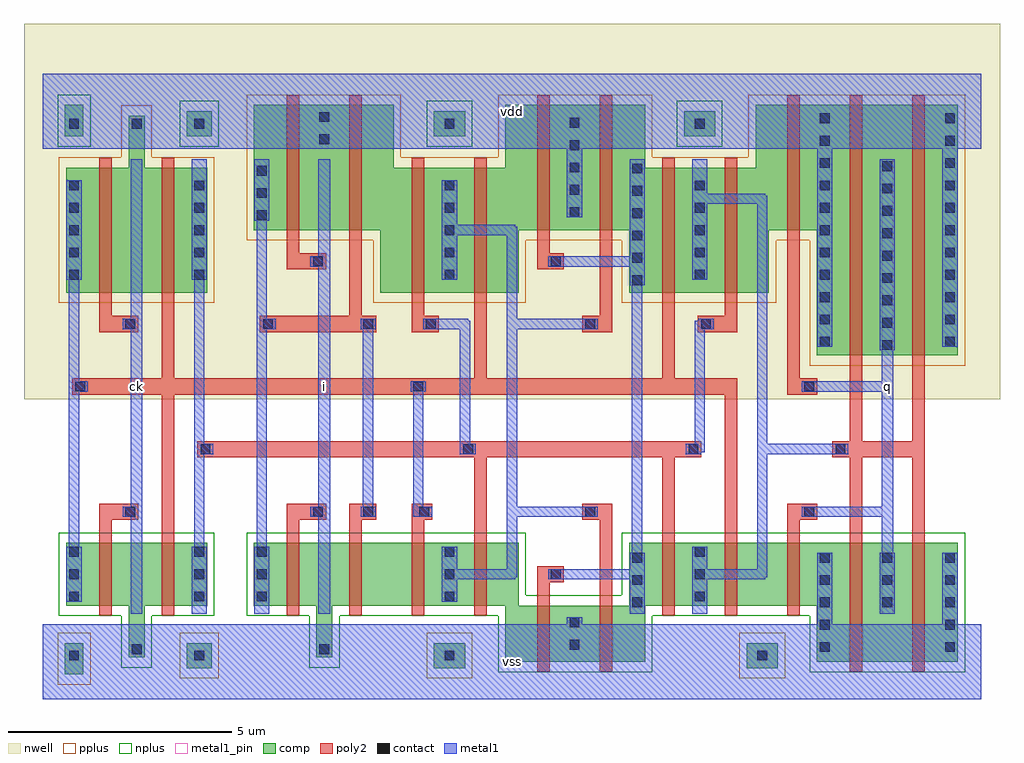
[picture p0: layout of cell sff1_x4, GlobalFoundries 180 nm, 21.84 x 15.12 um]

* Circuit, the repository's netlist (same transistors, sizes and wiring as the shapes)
* sff1_x4
.subckt sff1_x4 vss ck vdd i q
Mn_ck nckr ck vss vss nfet_03v3 l=0.28um w=1.4um
Mp_ck nckr ck vdd vdd pfet_03v3 l=0.28um w=2.8um
Mp_ckr_2 sff_s ckr _net0 vdd pfet_03v3 l=0.28um w=2.8um
Mn_ckr_1 sff_m ckr _net4 vss nfet_03v3 l=0.28um w=1.4um
Mn_ckr_2 y ckr sff_s vss nfet_03v3 l=0.28um w=1.4um
Mp_ckr_1 _net1 ckr sff_m vdd pfet_03v3 l=0.28um w=2.8um
Mp_i u i vdd vdd pfet_03v3 l=0.28um w=2.8um
Mn_i u i vss vss nfet_03v3 l=0.28um w=1.4um
Mn_nckr_1 vss nckr ckr vss nfet_03v3 l=0.28um w=1.4um
Mp_nckr_1 vdd nckr ckr vdd pfet_03v3 l=0.28um w=2.8um
Mp_nckr_2 sff_m nckr _net5 vdd pfet_03v3 l=0.28um w=2.8um
Mp_nckr_3 y nckr sff_s vdd pfet_03v3 l=0.28um w=2.8um
Mn_nckr_2 _net2 nckr sff_m vss nfet_03v3 l=0.28um w=1.4um
Mn_nckr_3 sff_s nckr _net6 vss nfet_03v3 l=0.28um w=1.4um
Mn_q_1 _net6 q vss vss nfet_03v3 l=0.28um w=1.4um
Mp_q_1 _net0 q vdd vdd pfet_03v3 l=0.28um w=2.8um
Mp_sffm_1 vdd sff_m y vdd pfet_03v3 l=0.28um w=2.8um
Mn_sffm_1 vss sff_m y vss nfet_03v3 l=0.28um w=1.26um
Mp_sffs_1 vdd sff_s q vdd pfet_03v3 l=0.28um w=5.6um
Mn_sffs_1 vss sff_s q vss nfet_03v3 l=0.28um w=2.66um
Mp_sffs_2 q sff_s vdd vdd pfet_03v3 l=0.28um w=5.6um
Mn_sffs_2 q sff_s vss vss nfet_03v3 l=0.28um w=2.66um
Mn_u vss u _net2 vss nfet_03v3 l=0.28um w=1.4um
Mp_u vdd u _net1 vdd pfet_03v3 l=0.28um w=2.8um
Mp_y_1 _net5 y vdd vdd pfet_03v3 l=0.28um w=2.8um
Mn_y_1 _net4 y vss vss nfet_03v3 l=0.28um w=1.26um
.ends sff1_x4

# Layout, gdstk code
import gdstk
lib = gdstk.Library(unit=1e-6, precision=1e-09)
def R(c, l, rs):  # rectangles x0, y0, x1, y1
    for r in rs: c.add(gdstk.rectangle(r[:2], r[2:], *l))
def A(c, l, x, y, w, h, nx, ny, dx, dy):  # array of equal rectangles
    R(c, l, [(x+i*dx, y+j*dy, x+i*dx+w, y+j*dy+h) for i in range(nx) for j in range(ny)])
def P(c, l, *ps):  # polygons
    for p in ps: c.add(gdstk.Polygon(p, *l))
nwell = (21, 0)
comp = (22, 0)
poly2 = (30, 0)
pplus = (31, 0)
nplus = (32, 0)
contact = (33, 0)
metal1 = (34, 0)
metal1_pin = (34, 10)

sff1_x4 = lib.new_cell('sff1_x4')
R(sff1_x4, nwell, [(-0.42,6.72,21.42,15.12)])
R(sff1_x4, comp, [(0.49,0.56,0.91,1.26), (3.22,0.7,3.78,1.26), (8.75,0.7,9.45,1.26), (15.75,0.7,16.45,1.26), (0.49,12.6,0.91,13.3), (3.22,12.6,3.78,13.16), (8.75,12.6,9.45,13.16), (14.35,12.6,15.05,13.16)])
P(sff1_x4, comp, [(0.52,9.1),(0.52,11.9),(1.92,11.9),(1.92,13.06),(2.28,13.06),(2.28,11.9),(3.68,11.9),(3.68,9.1)],
  [(1.92,0.94),(1.92,2.1),(0.52,2.1),(0.52,3.5),(3.68,3.5),(3.68,2.1),(2.28,2.1),(2.28,0.94)],
  [(10.35,0.84),(10.35,2.1),(6.48,2.1),(6.48,0.94),(6.12,0.94),(6.12,2.1),(4.72,2.1),(4.72,3.5),(10.65,3.5),(10.65,2.1),(13.12,2.1),(13.12,3.5),(20.48,3.5),(20.48,0.84),(17.32,0.84),(17.32,2.1),(13.48,2.1),(13.48,0.84)],
  [(17.32,7.7),(17.32,10.5),(16.25,10.5),(16.25,9.1),(13.12,9.1),(13.12,10.5),(10.65,10.5),(10.65,9.1),(7.55,9.1),(7.55,10.5),(4.72,10.5),(4.72,13.3),(7.85,13.3),(7.85,11.9),(10.35,11.9),(10.35,13.3),(13.48,13.3),(13.48,11.9),(15.95,11.9),(15.95,13.3),(20.48,13.3),(20.48,7.7)])
P(sff1_x4, poly2, [(8.26,1.88),(8.26,4.38),(8.72,4.38),(8.72,4.02),(8.54,4.02),(8.54,1.88)],
  [(2.66,1.88),(2.66,6.82),(0.66,6.82),(0.66,7.18),(2.66,7.18),(2.66,12.12),(2.94,12.12),(2.94,7.18),(9.66,7.18),(9.66,12.12),(9.94,12.12),(9.94,7.18),(13.86,7.18),(13.86,12.12),(14.14,12.12),(14.14,7.18),(15.54,7.18),(15.54,1.88),(15.26,1.88),(15.26,6.82),(2.94,6.82),(2.94,1.88)],
  [(1.26,1.88),(1.26,4.38),(2.14,4.38),(2.14,4.02),(1.54,4.02),(1.54,1.88)],
  [(1.26,8.22),(1.26,12.12),(1.54,12.12),(1.54,8.58),(2.14,8.58),(2.14,8.22)],
  [(18.06,0.62),(18.06,5.42),(17.67,5.42),(17.67,5.78),(18.06,5.78),(18.06,13.52),(18.34,13.52),(18.34,5.78),(19.46,5.78),(19.46,13.52),(19.74,13.52),(19.74,0.62),(19.46,0.62),(19.46,5.42),(18.34,5.42),(18.34,0.62)],
  [(8.26,8.22),(8.26,12.12),(8.54,12.12),(8.54,8.58),(8.86,8.58),(8.86,8.22)],
  [(9.66,1.88),(9.66,5.42),(3.46,5.42),(3.46,5.78),(14.74,5.78),(14.74,5.42),(14.14,5.42),(14.14,1.88),(13.86,1.88),(13.86,5.42),(9.94,5.42),(9.94,1.88)],
  [(14.66,8.22),(14.66,8.58),(15.26,8.58),(15.26,12.12),(15.54,12.12),(15.54,8.22)],
  [(12.07,8.22),(12.07,8.58),(12.46,8.58),(12.46,13.52),(12.74,13.52),(12.74,8.22)],
  [(12.46,0.62),(12.46,4.02),(12.07,4.02),(12.07,4.38),(12.74,4.38),(12.74,0.62)],
  [(11.06,9.62),(11.06,13.52),(11.34,13.52),(11.34,9.98),(11.66,9.98),(11.66,9.62)],
  [(11.06,0.62),(11.06,2.98),(11.66,2.98),(11.66,2.62),(11.34,2.62),(11.34,0.62)],
  [(6.86,1.88),(6.86,4.38),(7.46,4.38),(7.46,4.02),(7.14,4.02),(7.14,1.88)],
  [(4.86,8.22),(4.86,8.58),(6.86,8.58),(6.86,13.52),(7.14,13.52),(7.14,8.58),(7.46,8.58),(7.46,8.22)],
  [(5.46,9.62),(5.46,13.52),(5.74,13.52),(5.74,9.98),(6.34,9.98),(6.34,9.62)],
  [(5.46,1.88),(5.46,4.38),(6.34,4.38),(6.34,4.02),(5.74,4.02),(5.74,1.88)],
  [(16.66,6.82),(16.66,13.52),(16.94,13.52),(16.94,7.18),(17.33,7.18),(17.33,6.82)],
  [(16.66,1.88),(16.66,4.38),(17.33,4.38),(17.33,4.02),(16.94,4.02),(16.94,1.88)])
R(sff1_x4, pplus, [(0.33,0.33,1.07,1.49), (3.06,0.47,3.94,1.49), (8.59,0.47,9.61,1.49), (15.59,0.47,16.61,1.49)])
P(sff1_x4, pplus, [(0.36,8.87),(0.36,12.13),(1.76,12.13),(1.76,13.29),(2.44,13.29),(2.44,12.13),(3.84,12.13),(3.84,8.87)],
  [(17.16,7.47),(17.16,10.27),(16.41,10.27),(16.41,8.87),(12.96,8.87),(12.96,10.27),(10.81,10.27),(10.81,8.87),(7.39,8.87),(7.39,10.27),(4.56,10.27),(4.56,13.53),(8.01,13.53),(8.01,12.13),(10.19,12.13),(10.19,13.53),(13.64,13.53),(13.64,12.13),(15.79,12.13),(15.79,13.53),(20.64,13.53),(20.64,7.47)])
R(sff1_x4, nplus, [(0.33,12.37,1.07,13.53), (3.06,12.37,3.94,13.39), (8.59,12.37,9.61,13.39), (14.19,12.37,15.21,13.39)])
P(sff1_x4, nplus, [(1.76,0.71),(1.76,1.87),(0.36,1.87),(0.36,3.73),(3.84,3.73),(3.84,1.87),(2.44,1.87),(2.44,0.71)],
  [(10.19,0.61),(10.19,1.87),(6.64,1.87),(6.64,0.71),(5.96,0.71),(5.96,1.87),(4.56,1.87),(4.56,3.73),(10.81,3.73),(10.81,2.33),(12.96,2.33),(12.96,3.73),(20.64,3.73),(20.64,0.61),(17.16,0.61),(17.16,1.87),(13.64,1.87),(13.64,0.61)])
A(sff1_x4, contact, 13.19, 2.06, 0.22, 0.22, 1, 3, 0, 0.5)
A(sff1_x4, contact, 17.39, 2.06, 0.22, 0.22, 3, 3, 1.4, 0.5)
A(sff1_x4, contact, 0.59, 2.19, 0.22, 0.22, 1, 3, 0, 0.5)
A(sff1_x4, contact, 3.39, 2.19, 0.22, 0.22, 1, 3, 0, 0.5)
A(sff1_x4, contact, 4.79, 2.19, 0.22, 0.22, 1, 3, 0, 0.5)
A(sff1_x4, contact, 8.99, 2.19, 0.22, 0.22, 1, 3, 0, 0.5)
A(sff1_x4, contact, 14.59, 2.19, 0.22, 0.22, 1, 3, 0, 0.5)
A(sff1_x4, contact, 18.79, 7.82, 0.22, 0.22, 1, 9, 0, 0.5)
A(sff1_x4, contact, 17.39, 7.89, 0.22, 0.22, 1, 11, 0, 0.5)
A(sff1_x4, contact, 20.19, 7.89, 0.22, 0.22, 1, 11, 0, 0.5)
A(sff1_x4, contact, 13.19, 9.27, 0.22, 0.22, 1, 6, 0, 0.5)
A(sff1_x4, contact, 0.59, 9.39, 0.22, 0.22, 1, 5, 0, 0.5)
A(sff1_x4, contact, 3.39, 9.39, 0.22, 0.22, 3, 5, 5.6, 0.5)
A(sff1_x4, contact, 4.79, 10.72, 0.22, 0.22, 1, 3, 0, 0.5)
A(sff1_x4, contact, 11.79, 10.79, 0.22, 0.22, 1, 5, 0, 0.5)
A(sff1_x4, contact, 0.59, 12.77, 0.22, 0.22, 3, 1, 1.4, 0)
R(sff1_x4, contact, [(0.59,0.87,0.81,1.09), (3.39,0.87,3.61,1.09), (8.99,0.87,9.21,1.09), (15.99,0.87,16.21,1.09), (1.99,1.01,2.21,1.23), (6.19,1.01,6.41,1.23), (17.39,1.06,17.61,1.28), (20.19,1.06,20.41,1.28), (11.79,1.11,12.01,1.33), (17.39,1.56,17.61,1.78), (20.19,1.56,20.41,1.78), (11.79,1.61,12.01,1.83), (11.37,2.69,11.59,2.91), (1.85,4.09,2.07,4.31), (6.05,4.09,6.27,4.31), (7.17,4.09,7.39,4.31), (8.43,4.09,8.65,4.31), (12.14,4.09,12.36,4.31), (17.04,4.09,17.26,4.31), (3.53,5.49,3.75,5.71), (9.41,5.49,9.63,5.71), (14.45,5.49,14.67,5.71), (17.74,5.49,17.96,5.71), (0.73,6.89,0.95,7.11), (8.29,6.89,8.51,7.11), (17.04,6.89,17.26,7.11), (1.85,8.29,2.07,8.51), (4.93,8.29,5.15,8.51), (7.17,8.29,7.39,8.51), (8.57,8.29,8.79,8.51), (12.14,8.29,12.36,8.51), (14.73,8.29,14.95,8.51), (6.05,9.69,6.27,9.91), (11.37,9.69,11.59,9.91), (6.19,12.42,6.41,12.64), (8.99,12.77,9.21,12.99), (14.59,12.77,14.81,12.99), (6.19,12.92,6.41,13.14)])
P(sff1_x4, metal1, [(8.285,4.085),(8.285,6.885),(8.23,6.885),(8.23,7.115),(8.57,7.115),(8.57,6.885),(8.515,6.885),(8.515,4.315),(8.71,4.315),(8.71,4.085)],
  [(0.53,2.185),(0.53,3.415),(0.585,3.415),(0.585,9.385),(0.53,9.385),(0.53,11.615),(0.87,11.615),(0.87,9.385),(0.815,9.385),(0.815,7.115),(1.01,7.115),(1.01,6.885),(0.815,6.885),(0.815,3.415),(0.87,3.415),(0.87,2.185)],
  [(0,0),(0,1.68),(11.73,1.68),(11.73,1.835),(12.07,1.835),(12.07,1.68),(17.33,1.68),(17.33,3.285),(17.67,3.285),(17.67,1.68),(20.13,1.68),(20.13,3.285),(20.47,3.285),(20.47,1.68),(21,1.68),(21,0)],
  [(1.97,1.91),(1.97,4.085),(1.79,4.085),(1.79,4.315),(1.97,4.315),(1.97,8.285),(1.79,8.285),(1.79,8.515),(1.97,8.515),(1.97,12.09),(2.23,12.09),(2.23,1.91)],
  [(17.33,7.885),(17.33,12.32),(12.07,12.32),(12.07,10.785),(11.73,10.785),(11.73,12.32),(0,12.32),(0,14),(21,14),(21,12.32),(20.47,12.32),(20.47,7.885),(20.13,7.885),(20.13,12.32),(17.67,12.32),(17.67,7.885)],
  [(14.53,1.91),(14.53,3.415),(14.87,3.415),(14.87,2.915),(15.985,2.915),(15.985,11.085),(14.87,11.085),(14.87,9.385),(14.53,9.385),(14.53,12.09),(14.87,12.09),(14.87,11.315),(16.17,11.315),(16.17,11.27),(16.215,11.27),(16.215,5.715),(18.02,5.715),(18.02,5.485),(16.215,5.485),(16.215,2.73),(16.17,2.73),(16.17,2.685),(14.87,2.685),(14.87,1.91)],
  [(3.33,1.91),(3.33,3.415),(3.385,3.415),(3.385,9.385),(3.33,9.385),(3.33,12.09),(3.67,12.09),(3.67,9.385),(3.615,9.385),(3.615,5.715),(3.81,5.715),(3.81,5.485),(3.615,5.485),(3.615,3.415),(3.67,3.415),(3.67,1.91)],
  [(9.335,5.485),(9.335,8.285),(8.51,8.285),(8.51,8.515),(9.52,8.515),(9.52,8.47),(9.565,8.47),(9.565,5.715),(9.69,5.715),(9.69,5.485)],
  [(14.39,5.485),(14.39,5.715),(14.585,5.715),(14.585,8.47),(14.67,8.47),(14.67,8.515),(15.01,8.515),(15.01,8.285),(14.815,8.285),(14.815,5.53),(14.73,5.53),(14.73,5.485)],
  [(8.93,2.185),(8.93,3.415),(9.27,3.415),(9.27,2.915),(10.385,2.915),(10.385,10.385),(9.27,10.385),(9.27,9.385),(8.93,9.385),(8.93,11.615),(9.27,11.615),(9.27,10.615),(10.57,10.615),(10.57,10.57),(10.615,10.57),(10.615,8.515),(12.42,8.515),(12.42,8.285),(10.615,8.285),(10.615,4.315),(12.42,4.315),(12.42,4.085),(10.615,4.085),(10.615,2.73),(10.57,2.73),(10.57,2.685),(9.27,2.685),(9.27,2.185)],
  [(13.13,1.91),(13.13,2.685),(11.31,2.685),(11.31,2.915),(13.13,2.915),(13.13,3.285),(13.185,3.285),(13.185,9.265),(13.13,9.265),(13.13,9.685),(11.31,9.685),(11.31,9.915),(13.13,9.915),(13.13,12.09),(13.47,12.09),(13.47,9.265),(13.415,9.265),(13.415,3.285),(13.47,3.285),(13.47,1.91)],
  [(7.11,4.085),(7.11,4.315),(7.165,4.315),(7.165,8.285),(7.11,8.285),(7.11,8.515),(7.45,8.515),(7.45,8.285),(7.395,8.285),(7.395,4.315),(7.45,4.315),(7.45,4.085)],
  [(4.73,1.91),(4.73,3.415),(4.785,3.415),(4.785,10.715),(4.73,10.715),(4.73,12.09),(5.07,12.09),(5.07,10.715),(5.015,10.715),(5.015,8.515),(5.21,8.515),(5.21,8.285),(5.015,8.285),(5.015,3.415),(5.07,3.415),(5.07,1.91)],
  [(6.17,1.91),(6.17,4.085),(5.99,4.085),(5.99,4.315),(6.17,4.315),(6.17,9.685),(5.99,9.685),(5.99,9.915),(6.17,9.915),(6.17,12.09),(6.43,12.09),(6.43,1.91)],
  [(18.73,1.91),(18.73,3.285),(18.77,3.285),(18.77,4.085),(16.98,4.085),(16.98,4.315),(18.77,4.315),(18.77,6.885),(16.98,6.885),(16.98,7.115),(18.77,7.115),(18.77,7.815),(18.73,7.815),(18.73,12.09),(19.07,12.09),(19.07,7.815),(19.03,7.815),(19.03,3.285),(19.07,3.285),(19.07,1.91)])
R(sff1_x4, metal1_pin, [(0,0,21,1.68), (1.97,1.91,2.23,12.09), (6.17,1.91,6.43,12.09), (18.77,1.91,19.03,12.09), (0,12.32,21,14)])
sff1_x4.add(gdstk.Label('vss', (10.5,0.84), layer=34, texttype=10))
sff1_x4.add(gdstk.Label('ck', (2.1,7), layer=34, texttype=10))
sff1_x4.add(gdstk.Label('vdd', (10.5,13.16), layer=34, texttype=10))
sff1_x4.add(gdstk.Label('i', (6.3,7), layer=34, texttype=10))
sff1_x4.add(gdstk.Label('q', (18.9,7), layer=34, texttype=10))

lib.write_gds('sff1_x4.gds')
